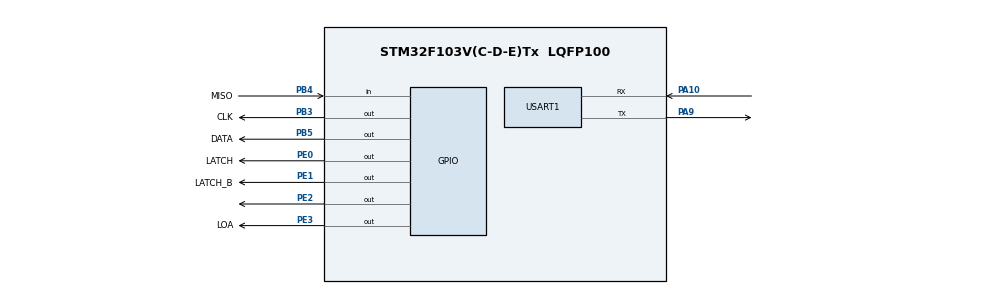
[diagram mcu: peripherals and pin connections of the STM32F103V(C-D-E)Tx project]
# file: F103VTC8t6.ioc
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Mcu.Family=STM32F1
Mcu.Name=STM32F103V(C-D-E)Tx
Mcu.Package=LQFP100
NVIC.PriorityGroup=NVIC_PRIORITYGROUP_4
NVIC.TIM2_IRQn=true\:2\:0\:true\:false\:true\:true\:true\:true
NVIC.USART1_IRQn=true\:0\:0\:false\:false\:true\:true\:true\:true
PA10.Mode=Asynchronous
PA10.Signal=USART1_RX
PA13.Mode=Serial_Wire
PA13.Signal=SYS_JTMS-SWDIO
PA14.Mode=Serial_Wire
PA14.Signal=SYS_JTCK-SWCLK
PA9.Mode=Asynchronous
PA9.Signal=USART1_TX
PB3.GPIO_Label=CLK
PB3.GPIO_Speed=GPIO_SPEED_FREQ_LOW
PB3.Signal=GPIO_Output
PB4.GPIO_Label=MISO
PB4.Signal=GPIO_Input
PB5.GPIO_Label=DATA
PB5.GPIO_Speed=GPIO_SPEED_FREQ_LOW
PB5.Signal=GPIO_Output
PE0.GPIO_Label=LATCH
PE0.GPIO_Speed=GPIO_SPEED_FREQ_LOW
PE0.Signal=GPIO_Output
PE1.GPIO_Label=LATCH_B
PE1.Signal=GPIO_Output
PE2.Signal=GPIO_Output
PE3.GPIO_Label=LOA
PE3.Signal=GPIO_Output
ProjectManager.HeapSize=0x200
ProjectManager.StackSize=0x400
ProjectManager.TargetToolchain=MDK-ARM V5.32
RCC.APB1Freq_Value=8000000
RCC.APB2Freq_Value=8000000
TIM2.Period=1999
TIM2.Prescaler=35999
USART1.VirtualMode=VM_ASYNC
VP_TIM2_VS_ClockSourceINT.Mode=Internal
board=custom

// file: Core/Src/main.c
/* USER CODE BEGIN Header */
/**
  ******************************************************************************
  * @file           : main.c
  * @brief          : Main program body
  ******************************************************************************
  * @attention
  *
  * Copyright (c) 2024 STMicroelectronics.
  * All rights reserved.
  *
  * This software is licensed under terms that can be found in the LICENSE file
  * in the root directory of this software component.
  * If no LICENSE file comes with this software, it is provided AS-IS.
  *
  ******************************************************************************
  */
/* USER CODE END Header */
#include "main.h"

/* USER CODE BEGIN Includes */
#include <string.h>
#include <stdio.h>
/* USER CODE END Includes */

TIM_HandleTypeDef htim2;

UART_HandleTypeDef huart1;

void SystemClock_Config(void);
static void MX_GPIO_Init(void);
static void MX_TIM2_Init(void);
static void MX_USART1_UART_Init(void);

/* USER CODE BEGIN 0 */
char button1 =0, button2 = 0 , button3 = 0 ,button4 =0 ;
char data165 = 0xFF;
static int8_t a1=0;
static int8_t a2=0;
static int8_t a3=0;
static int8_t a4=0;
static uint8_t seed = 0;

uint8_t rx_data;
uint8_t index_rx=0;
uint8_t rx_buffer[20];

char dem[16];
//------------------------------------------------------
// Ham call timer khi tran-> tinh toan dong ho
void HAL_TIM_PeriodElapsedCallback(TIM_HandleTypeDef *htim)
{
	if (htim->Instance==TIM2)
	{
		a4++;
		if(a4==10)
		{
			a4=0;
			a3++;
			if (a3==6)
			{
				a1++;
				a3=0;
				if (a1==9)
				{
					a2++;
					a1=0;
					if (a2==6)
					{
							a2=0;
							a1=0;
							a3=0;
							a4=0;
					}
				}
			}

		}
	}
}

//Ham truyen du lieu
void HAL_UART_RxCpltCallback(UART_HandleTypeDef *huart) {
    if (huart->Instance == USART1) {
        if (rx_data == '\n') {
            HAL_UART_Transmit(&huart1, (uint8_t *)rx_buffer, index_rx, 100); // gui du lieu da nhan
            memset(rx_buffer, 0, sizeof(rx_buffer)); // xoa du lieu trong mang rx_buffer
            index_rx = 0; // dat lai index_rx chuan bi cho du lieu tiep theo
        } else {
            rx_buffer[index_rx++] = rx_data; // luu ky tu vao mang rx_bufer
            // Kiem tra xem mang dã day chua
            if (index_rx >= sizeof(rx_buffer)) {
                // Neu da day, không làm gì cho xu lý tùy ý
            }
        }
        HAL_UART_Receive_IT(&huart1, &rx_data, 1); // Ti?p t?c nh?n d? li?u
    }
}

//Ham truyen du lieu
void UART_Send_Value(int value) {
    char buffer[3]; // Tao mang co kieu ky tu chua gia tri, bao gom 2 chu so và ký tu ket thúc chuoi("55 ")
    snprintf(buffer, sizeof(buffer), "%02d", value); // Format gia tri thanh chuoi(55)
    HAL_UART_Transmit(&huart1, (uint8_t *)buffer, strlen(buffer), HAL_MAX_DELAY); // Gui chuoi qua UART (55)
}

// Khai bao ham dua gia tri len Terminal may tinh.
void send_count_to_terminal(int8_t tens, int8_t ones) {
		UART_Send_Value(tens * 10 + ones); // Gui giá tri(55) qua UART
}

//Ham xuat gia tri led ra chan PB5
//Ham doc vi tri led va gia tri led--> ten ham led(doi so vi tri, doi so gia tri led)
unsigned char maled_cc[10] = {0xAF, 0xA0, 0x6E, 0xEA, 0xE1, 0xCB, 0xCF, 0xA2, 0xEF, 0xEB};
unsigned char led_position[5] = { 0x08, 0x10,0x20,0x40,0x80};  //Vi Tri Quet Led
void led(uint8_t vi_tri, uint8_t sang_led)
{
	for( uint8_t i=0; i<8;i++)
	{
		HAL_GPIO_WritePin(DATA_GPIO_Port,DATA_Pin,(led_position[vi_tri]&(0x80>>i)));

		HAL_GPIO_WritePin(GPIOB,GPIO_PIN_3, GPIO_PIN_SET);
		HAL_GPIO_WritePin(GPIOB,GPIO_PIN_3, GPIO_PIN_RESET);
	}
	for( uint8_t i=0; i<8;i++)
	{
		HAL_GPIO_WritePin(DATA_GPIO_Port,DATA_Pin,(maled_cc[sang_led]&(0x80>>i)));
		HAL_GPIO_WritePin(GPIOB,GPIO_PIN_3, GPIO_PIN_SET);
		HAL_GPIO_WritePin(GPIOB,GPIO_PIN_3, GPIO_PIN_RESET);
	}
	HAL_GPIO_WritePin(GPIOE,GPIO_PIN_0, GPIO_PIN_SET);
	HAL_GPIO_WritePin(GPIOE,GPIO_PIN_0, GPIO_PIN_RESET);
}

//Ham lay gia 8 bit doc vao tu chan PB4
	void get_data165(){
	HAL_GPIO_WritePin( LATCH_B_GPIO_Port,LATCH_B_Pin,1);
	HAL_GPIO_WritePin( LATCH_B_GPIO_Port,LATCH_B_Pin,0);
	HAL_GPIO_WritePin( LATCH_B_GPIO_Port,LATCH_B_Pin,1);
	for(uint8_t i = 0; i<=7; i++){
		if(HAL_GPIO_ReadPin( 	MISO_GPIO_Port, MISO_Pin)==0)
			data165 &=~(1<<(7-i));
		else data165 |=(1<<(7-i));

		HAL_GPIO_WritePin(GPIOB,GPIO_PIN_3, GPIO_PIN_SET);
		HAL_GPIO_WritePin(GPIOB,GPIO_PIN_3, GPIO_PIN_RESET);
	}
}

//Ham xu ly khi nhan nut.
void raise_value()
{
//Ham lua chon
	get_data165();
	//Nut nhan 2(dk_1)
	if((data165 & (1<<5)) == 0 && button2==0)
	{
		//caulenh_1.0
		button2 = 1; a1++ ;
		//dk_1.1
		if(a1==10){
			a1=0;
		}

		//caulenh1.3
		send_count_to_terminal(a2, a1); // doi so vao a2=5, a1=5
	}
	else if((data165 & (1<<5))== (1<<5) && button2 == 1 )
	{
		button2 = 0;
	}

	//Nut nhan 3(dk_2)
	if((data165 & (1<<6)) == 0 && button3==0)
	{
		button3=1 ; a1-- ;
		if(a1 == -1) {
			a1 = 9;
		}
		send_count_to_terminal(a2, a1); // doi so vao a2=5, a1=5
	}
	else if((data165 & (1<<6)) == (1<<6) && button3 == 1 )
	{
		button3=0;
	}

//ghi gia tri vao mang.
	sprintf(dem, "%0d%0d:%0d%0d", a2, a1, a3, a4);
//dinh dang dong ho, tang dan
	led(0, a2);//(min, a2=0)
	led(1, a1);//(min, a1=0)
	led(3, a3);//(sec, a3=0)
	led(4, a4);//(sec, a4=0)

	if (strcmp((char *)rx_buffer, dem)==0) {
		HAL_GPIO_WritePin(GPIOE, GPIO_PIN_3, GPIO_PIN_SET);
		}
	if (strcmp((char *)rx_buffer, dem)!=0) {
		HAL_GPIO_WritePin(GPIOE, GPIO_PIN_3, GPIO_PIN_RESET);
	}
}

/* USER CODE END 0 */

int main(void)
{
  /* USER CODE BEGIN 1 */
	//khoi tao gia tri cho a1 va a2

  /* USER CODE END 1 */

  /* MCU Configuration--------------------------------------------------------*/

  /* Reset of all peripherals, Initializes the Flash interface and the Systick. */
  HAL_Init();

  /* Configure the system clock */
  SystemClock_Config();

  /* Initialize all configured peripherals */
  MX_GPIO_Init();
  MX_TIM2_Init();
  MX_USART1_UART_Init();
  /* USER CODE BEGIN 2 */
	HAL_TIM_Base_Start_IT(&htim2);
	HAL_UART_Receive_IT(&huart1, &rx_data, 1);
  /* USER CODE END 2 */

  /* Infinite loop */
  /* USER CODE BEGIN WHILE */
	HAL_GPIO_WritePin(GPIOB,GPIO_PIN_3, GPIO_PIN_RESET);
	HAL_GPIO_WritePin(GPIOE,GPIO_PIN_0, GPIO_PIN_RESET);
	HAL_GPIO_WritePin(GPIOE,GPIO_PIN_2, GPIO_PIN_RESET);

  while (1)
  {
		raise_value();

    /* USER CODE END WHILE */

  }
}

void SystemClock_Config(void)
{
  RCC_OscInitTypeDef RCC_OscInitStruct = {0};
  RCC_ClkInitTypeDef RCC_ClkInitStruct = {0};

  /** Initializes the RCC Oscillators according to the specified parameters
  * in the RCC_OscInitTypeDef structure.
  */
  RCC_OscInitStruct.OscillatorType = RCC_OSCILLATORTYPE_HSI;
  RCC_OscInitStruct.HSIState = RCC_HSI_ON;
  RCC_OscInitStruct.HSICalibrationValue = RCC_HSICALIBRATION_DEFAULT;
  RCC_OscInitStruct.PLL.PLLState = RCC_PLL_NONE;
  if (HAL_RCC_OscConfig(&RCC_OscInitStruct) != HAL_OK)
  {
    Error_Handler();
  }

  /** Initializes the CPU, AHB and APB buses clocks
  */
  RCC_ClkInitStruct.ClockType = RCC_CLOCKTYPE_HCLK|RCC_CLOCKTYPE_SYSCLK
                              |RCC_CLOCKTYPE_PCLK1|RCC_CLOCKTYPE_PCLK2;
  RCC_ClkInitStruct.SYSCLKSource = RCC_SYSCLKSOURCE_HSI;
  RCC_ClkInitStruct.AHBCLKDivider = RCC_SYSCLK_DIV1;
  RCC_ClkInitStruct.APB1CLKDivider = RCC_HCLK_DIV1;
  RCC_ClkInitStruct.APB2CLKDivider = RCC_HCLK_DIV1;

  if (HAL_RCC_ClockConfig(&RCC_ClkInitStruct, FLASH_LATENCY_0) != HAL_OK)
  {
    Error_Handler();
  }
}

static void MX_TIM2_Init(void)
{

  TIM_ClockConfigTypeDef sClockSourceConfig = {0};
  TIM_MasterConfigTypeDef sMasterConfig = {0};

  htim2.Instance = TIM2;
  htim2.Init.Prescaler = 7999;
  htim2.Init.CounterMode = TIM_COUNTERMODE_UP;
  htim2.Init.Period = 999;
  htim2.Init.ClockDivision = TIM_CLOCKDIVISION_DIV1;
  htim2.Init.AutoReloadPreload = TIM_AUTORELOAD_PRELOAD_DISABLE;
  if (HAL_TIM_Base_Init(&htim2) != HAL_OK)
  {
    Error_Handler();
  }
  sClockSourceConfig.ClockSource = TIM_CLOCKSOURCE_INTERNAL;
  if (HAL_TIM_ConfigClockSource(&htim2, &sClockSourceConfig) != HAL_OK)
  {
    Error_Handler();
  }
  sMasterConfig.MasterOutputTrigger = TIM_TRGO_RESET;
  sMasterConfig.MasterSlaveMode = TIM_MASTERSLAVEMODE_DISABLE;
  if (HAL_TIMEx_MasterConfigSynchronization(&htim2, &sMasterConfig) != HAL_OK)
  {
    Error_Handler();
  }

}

static void MX_USART1_UART_Init(void)
{

  huart1.Instance = USART1;
  huart1.Init.BaudRate = 115200;
  huart1.Init.WordLength = UART_WORDLENGTH_8B;
  huart1.Init.StopBits = UART_STOPBITS_1;
  huart1.Init.Parity = UART_PARITY_NONE;
  huart1.Init.Mode = UART_MODE_TX_RX;
  huart1.Init.HwFlowCtl = UART_HWCONTROL_NONE;
  huart1.Init.OverSampling = UART_OVERSAMPLING_16;
  if (HAL_UART_Init(&huart1) != HAL_OK)
  {
    Error_Handler();
  }

}

static void MX_GPIO_Init(void)
{
  GPIO_InitTypeDef GPIO_InitStruct = {0};

  /* GPIO Ports Clock Enable */
  __HAL_RCC_GPIOE_CLK_ENABLE();
  __HAL_RCC_GPIOA_CLK_ENABLE();
  __HAL_RCC_GPIOB_CLK_ENABLE();

  /*Configure GPIO pin Output Level */
  HAL_GPIO_WritePin(GPIOE, GPIO_PIN_2|LOA_Pin|LATCH_Pin|LATCH_B_Pin, GPIO_PIN_RESET);

  /*Configure GPIO pin Output Level */
  HAL_GPIO_WritePin(GPIOB, CLK_Pin|DATA_Pin, GPIO_PIN_RESET);

  /*Configure GPIO pins : PE2 LOA_Pin LATCH_Pin LATCH_B_Pin */
  GPIO_InitStruct.Pin = GPIO_PIN_2|LOA_Pin|LATCH_Pin|LATCH_B_Pin;
  GPIO_InitStruct.Mode = GPIO_MODE_OUTPUT_PP;
  GPIO_InitStruct.Pull = GPIO_NOPULL;
  GPIO_InitStruct.Speed = GPIO_SPEED_FREQ_LOW;
  HAL_GPIO_Init(GPIOE, &GPIO_InitStruct);

  /*Configure GPIO pins : CLK_Pin DATA_Pin */
  GPIO_InitStruct.Pin = CLK_Pin|DATA_Pin;
  GPIO_InitStruct.Mode = GPIO_MODE_OUTPUT_PP;
  GPIO_InitStruct.Pull = GPIO_NOPULL;
  GPIO_InitStruct.Speed = GPIO_SPEED_FREQ_LOW;
  HAL_GPIO_Init(GPIOB, &GPIO_InitStruct);

  /*Configure GPIO pin : MISO_Pin */
  GPIO_InitStruct.Pin = MISO_Pin;
  GPIO_InitStruct.Mode = GPIO_MODE_INPUT;
  GPIO_InitStruct.Pull = GPIO_NOPULL;
  HAL_GPIO_Init(MISO_GPIO_Port, &GPIO_InitStruct);

}

void Error_Handler(void)
{
  __disable_irq();
  while (1)
  {
  }
}
